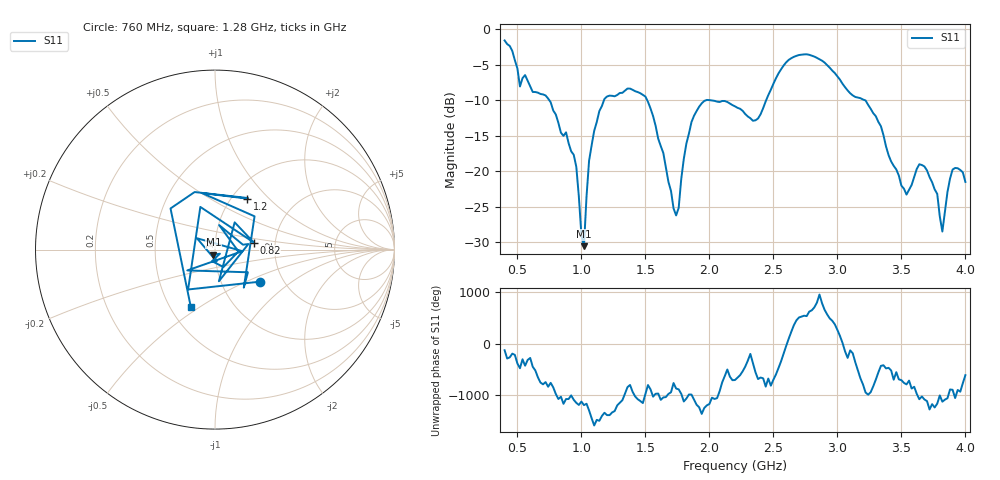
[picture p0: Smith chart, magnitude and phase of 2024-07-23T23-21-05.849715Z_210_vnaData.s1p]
!Created with skrf (http://scikit-rf.org).
# Hz S RI R 50.0
!freq ReS11 ImS11
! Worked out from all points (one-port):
!   181 points, 400 MHz to 4 GHz, reference 50 ohm
!   lowest |S11| = -30.5 dB at 1.02 GHz (marker M1), VSWR 1.06, Z = 49 - j2.78 ohm
!   |S11| at or under -10 dB: 1.514 GHz to 1.972 GHz (457.8 MHz wide, 26.3 % of centre); 2.011 GHz to 2.443 GHz (432.6 MHz wide, 19.4 % of centre); 3.217 GHz to end of sweep (the widest 3 of 4)
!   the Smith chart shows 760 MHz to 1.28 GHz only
!   S11 on the Smith chart (normalised r, x): 760 MHz: 1.52, -0.60; 820 MHz: 1.54, +0.13; 1.2 GHz: 1.18, +0.75; 1.28 GHz: 0.63, -0.46
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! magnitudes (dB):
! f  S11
! 400 MHz  -1.6
! 520 MHz  -8.1
! 760 MHz  -10.3
! 820 MHz  -13.2
! 860 MHz  -15.0
! 960 MHz  -19.3
! 1 GHz  -28.9
! 1.02 GHz  -30.5
! 1.06 GHz  -18.5
! 1.2 GHz  -9.5
! 1.28 GHz  -9.2
! 1.3 GHz  -9.0
! 1.5 GHz  -9.5
! 1.72 GHz  -25.2
! 1.76 GHz  -25.1
! 1.82 GHz  -16.1
! 1.9 GHz  -11.5
! 2.2 GHz  -10.8
! 2.38 GHz  -12.6
! 2.66 GHz  -3.9
! 3.1 GHz  -9.0
! 3.3 GHz  -12.2
! 3.56 GHz  -22.6
! 3.68 GHz  -19.3
! 3.78 GHz  -23.2
! 3.82 GHz  -28.5
! 3.9 GHz  -19.7
! 4 GHz  -21.5
